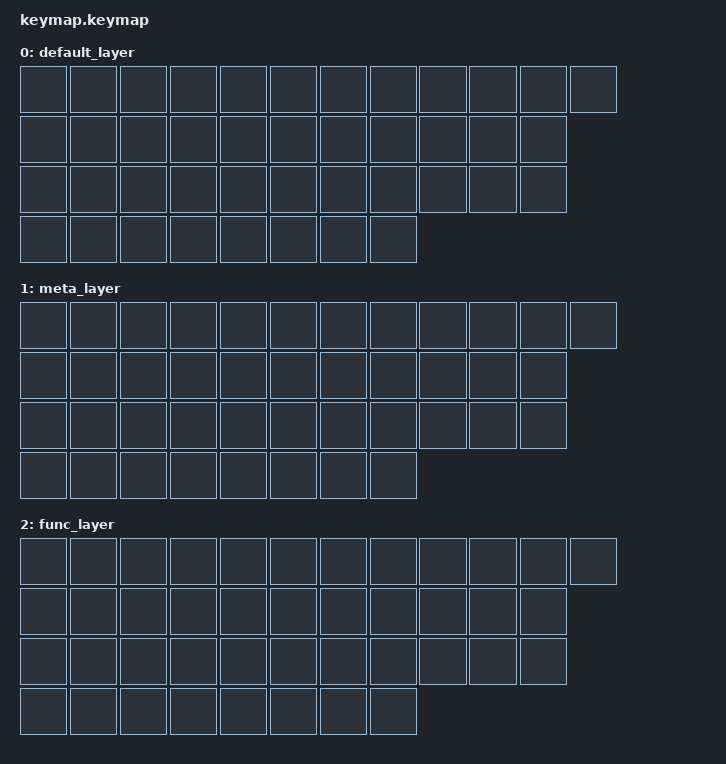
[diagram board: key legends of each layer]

#include <behaviors.dtsi>
#include <dt-bindings/zmk/keys.h>

/ {
    keymap {
        compatible = "zmk,keymap";

        default_layer {
            bindings =<
                &none &none &none &none &none &none &none &none &none &none &none &none
				&none &none &none &none &none &none &none &none &none &none &none
				&none &none &none &none &none &none &none &none &none &none &none
				&none &none &none &none &none &none &none &none
            >;
        };
        meta_layer {
            bindings =<
                &none &none &none &none &none &none &none &none &none &none &none &none
				&none &none &none &none &none &none &none &none &none &none &none
				&none &none &none &none &none &none &none &none &none &none &none
				&none &none &none &none &none &none &none &none
            >;
        };
        func_layer {
            bindings =<
                &none &none &none &none &none &none &none &none &none &none &none &none
				&none &none &none &none &none &none &none &none &none &none &none
				&none &none &none &none &none &none &none &none &none &none &none
				&none &none &none &none &none &none &none &none
            >;
        };
    };
};
